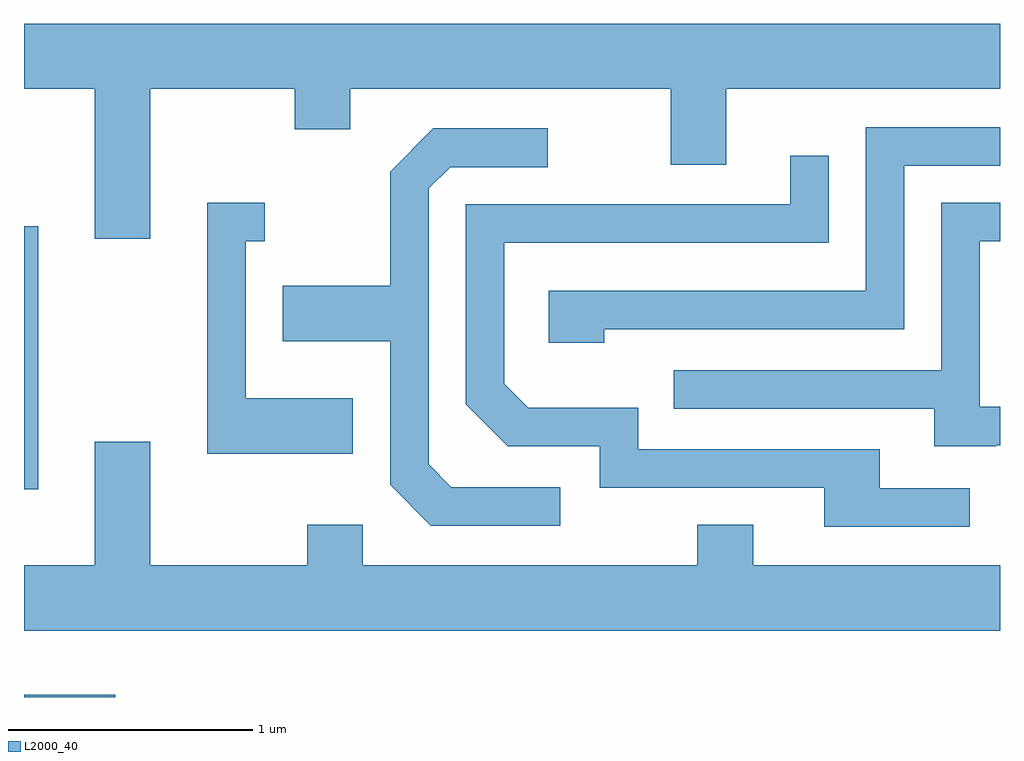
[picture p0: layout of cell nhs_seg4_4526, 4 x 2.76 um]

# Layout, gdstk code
import gdstk
lib = gdstk.Library(unit=1e-6, precision=1e-09)
def R(c, l, rs):  # rectangles x0, y0, x1, y1
    for r in rs: c.add(gdstk.rectangle(r[:2], r[2:], *l))
def P(c, l, *ps):  # polygons
    for p in ps: c.add(gdstk.Polygon(p, *l))
L2000_40 = (2000, 40)

nhs_seg4_4526 = lib.new_cell('nhs_seg4_4526')
R(nhs_seg4_4526, L2000_40, [(317.611,1329.982,317.984,1329.994), (317.611,1330.836,317.669,1331.914)])
P(nhs_seg4_4526, L2000_40, [(318.129,1332.476),(318.721,1332.476),(318.721,1332.311),(318.949,1332.311),(318.949,1332.476),(320.261,1332.476),(320.261,1332.166),(320.489,1332.166),(320.489,1332.476),(321.611,1332.476),(321.611,1332.744),(317.611,1332.744),(317.611,1332.476),(317.901,1332.476),(317.901,1331.861),(318.129,1331.861)],
  [(319.989,1331.491),(321.219,1331.491),(321.219,1332.161),(321.611,1332.161),(321.611,1332.319),(321.061,1332.319),(321.061,1331.649),(319.761,1331.649),(319.761,1331.436),(319.989,1331.436)],
  [(319.808,1330.844),(319.362,1330.844),(319.269,1330.937),(319.269,1332.069),(319.357,1332.156),(319.758,1332.156),(319.758,1332.314),(319.289,1332.314),(319.111,1332.137),(319.111,1331.669),(318.671,1331.669),(318.671,1331.441),(319.111,1331.441),(319.111,1330.854),(319.279,1330.686),(319.808,1330.686)],
  [(321.488,1330.839),(321.119,1330.839),(321.119,1330.999),(320.129,1330.999),(320.129,1331.169),(319.677,1331.169),(319.579,1331.267),(319.579,1331.846),(320.909,1331.846),(320.909,1332.203),(320.751,1332.203),(320.751,1332.004),(319.421,1332.004),(319.421,1331.184),(319.594,1331.011),(319.971,1331.011),(319.971,1330.841),(320.891,1330.841),(320.891,1330.681),(321.488,1330.681)],
  [(318.959,1331.209),(318.519,1331.209),(318.519,1331.851),(318.598,1331.851),(318.598,1332.009),(318.361,1332.009),(318.361,1330.981),(318.959,1330.981)],
  [(321.595,1331.016),(321.611,1331.016),(321.611,1331.174),(321.529,1331.174),(321.529,1331.851),(321.611,1331.851),(321.611,1332.009),(321.371,1332.009),(321.371,1331.324),(320.273,1331.324),(320.273,1331.166),(321.341,1331.166),(321.341,1331.011),(321.595,1331.011)],
  [(321.611,1330.524),(320.599,1330.524),(320.599,1330.689),(320.371,1330.689),(320.371,1330.524),(318.999,1330.524),(318.999,1330.689),(318.771,1330.689),(318.771,1330.524),(318.129,1330.524),(318.129,1331.029),(317.901,1331.029),(317.901,1330.524),(317.611,1330.524),(317.611,1330.256),(321.611,1330.256)])

lib.write_gds('nhs_seg4_4526.gds')
